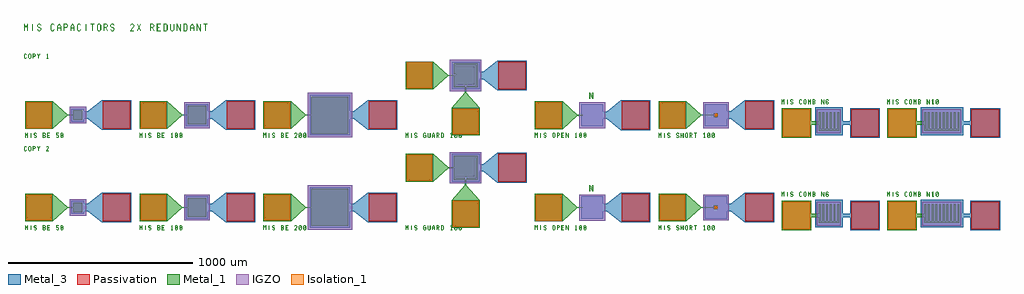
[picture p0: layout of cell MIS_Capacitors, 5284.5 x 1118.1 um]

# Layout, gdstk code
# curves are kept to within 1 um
import gdstk
lib = gdstk.Library(unit=1e-6, precision=1e-09)
def R(c, l, rs):  # rectangles x0, y0, x1, y1
    for r in rs: c.add(gdstk.rectangle(r[:2], r[2:], *l))
def P(c, l, *ps):  # polygons
    for p in ps: c.add(gdstk.Polygon(p, *l))
Metal_1 = (1, 0)
Isolation_1 = (2, 0)
IGZO = (4, 0)
Metal_3 = (5, 0)
Passivation = (6, 0)

miscap_comb_n6_1 = lib.new_cell('MIScap_comb_N6$1')
R(miscap_comb_n6_1, Metal_1, [(28.5,183,31.5,207)])
P(miscap_comb_n6_1, Metal_1, [(51.378,181.5),(46.939,185.939),(49.061,188.061),(52.622,184.5),(55.378,184.5),(58.5,187.622),(58.5,190.378),(55.378,193.5),(51.378,193.5),(46.5,198.378),(46.5,203.622),(51.378,208.5),(56.622,208.5),(61.061,204.061),(58.939,201.939),(55.378,205.5),(52.622,205.5),(49.5,202.378),(49.5,199.622),(52.622,196.5),(56.622,196.5),(61.5,191.622),(61.5,186.378),(56.622,181.5)],
  [(168,181.5),(168,183),(166.5,183),(166.5,193.5),(169.5,193.5),(169.5,184.5),(175.378,184.5),(178.5,187.622),(178.5,190.378),(175.378,193.5),(166.5,193.5),(166.5,205.5),(169.5,205.5),(169.5,196.5),(175.378,196.5),(178.5,199.622),(178.5,202.378),(175.378,205.5),(166.5,205.5),(166.5,208.5),(176.622,208.5),(181.5,203.622),(181.5,198.378),(178.122,195),(181.5,191.622),(181.5,186.378),(176.622,181.5)],
  [(243.378,181.5),(238.5,186.378),(238.5,193.5),(244.622,193.5),(241.5,190.378),(241.5,187.622),(244.622,184.5),(247.378,184.5),(250.5,187.622),(250.5,190.378),(247.378,193.5),(238.5,193.5),(238.5,203.622),(243.378,208.5),(248.622,208.5),(253.061,204.061),(250.939,201.939),(247.378,205.5),(244.622,205.5),(241.5,202.378),(241.5,196.036),(242.5,195.622),(243.378,196.5),(248.622,196.5),(253.5,191.622),(253.5,186.378),(248.622,181.5)],
  [(227.328,180.987),(218.947,197.753),(217.5,197.411),(217.5,183),(214.5,183),(214.5,208.501),(216.672,209.013),(225.053,192.247),(226.5,192.589),(226.5,207),(229.5,207),(229.5,181.499)],
  [(0,0),(0,160),(160,160),(160,90),(200,90),(200,140),(210,140),(210,50),(220,50),(220,140),(230,140),(230,50),(240,50),(240,140),(250,140),(250,50),(260,50),(260,140),(270,140),(270,50),(280,50),(280,140),(290,140),(290,50),(300,50),(300,140),(310,140),(310,40),(200,40),(200,70),(160,70),(160,0)],
  [(123.378,181.5),(118.939,185.939),(118.5,187),(118.5,203.622),(120.378,205.5),(124.622,205.5),(121.5,202.378),(121.5,187.622),(124.622,184.5),(127.378,184.5),(130.5,187.622),(130.5,202.378),(127.378,205.5),(120.378,205.5),(123.378,208.5),(128.622,208.5),(133.5,203.622),(133.5,186.378),(128.622,181.5)],
  [(99.378,181.5),(94.5,186.378),(94.5,203.622),(99.378,208.5),(104.622,208.5),(109.061,204.061),(106.939,201.939),(103.378,205.5),(100.622,205.5),(97.5,202.378),(97.5,187.622),(100.622,184.5),(103.378,184.5),(106.939,188.061),(109.061,185.939),(104.622,181.5)],
  [(-1.5,183),(-1.5,208.5),(0.514,209.058),(5.657,200.486),(6.343,200.486),(11.486,209.058),(13.5,208.5),(13.5,183),(10.5,183),(10.5,198.975),(9.157,199.347),(6.514,194.942),(5.486,194.942),(2.843,199.347),(1.5,198.975),(1.5,183)],
  [(142.5,183),(142.5,208.5),(144.514,209.058),(149.657,200.486),(150.343,200.486),(155.486,209.058),(157.5,208.5),(157.5,183),(154.5,183),(154.5,198.975),(153.157,199.347),(150.514,194.942),(149.486,194.942),(146.843,199.347),(145.5,198.975),(145.5,183)])
R(miscap_comb_n6_1, Isolation_1, [(5,5,155,155)])
R(miscap_comb_n6_1, IGZO, [(190,25,320,155)])
P(miscap_comb_n6_1, Metal_3, [(370,0),(370,70),(330,70),(330,15),(180,15),(180,165),(330,165),(330,90),(370,90),(370,160),(530,160),(530,0)])
R(miscap_comb_n6_1, Passivation, [(5,5,155,155), (375,5,525,155)])

miscap_open_100 = lib.new_cell('MIScap_open_100')
R(miscap_open_100, Metal_1, [(-7360.5,1579.25,-7357.5,1603.25)])
P(miscap_open_100, Metal_1, [(-7209.672,1577.237),(-7218.053,1594.003),(-7219.5,1593.661),(-7219.5,1579.25),(-7222.5,1579.25),(-7222.5,1604.751),(-7220.328,1605.263),(-7211.947,1588.497),(-7210.5,1588.839),(-7210.5,1603.25),(-7207.5,1603.25),(-7207.5,1577.749)],
  [(-7171,1577.75),(-7171,1580.75),(-7168.5,1580.75),(-7168.5,1598.214),(-7169.5,1598.628),(-7169.939,1598.189),(-7172.061,1600.311),(-7167,1605.372),(-7165.5,1604.75),(-7165.5,1580.75),(-7163,1580.75),(-7163,1577.75)],
  [(-7246.5,1577.75),(-7246.5,1604.75),(-7233,1604.75),(-7233,1601.75),(-7243.5,1601.75),(-7243.5,1592.75),(-7237,1592.75),(-7237,1589.75),(-7243.5,1589.75),(-7243.5,1580.75),(-7233,1580.75),(-7233,1577.75)],
  [(-7145.622,1577.75),(-7150.061,1582.189),(-7150.5,1583.25),(-7150.5,1599.872),(-7148.622,1601.75),(-7144.378,1601.75),(-7147.5,1598.628),(-7147.5,1589.75),(-7146.3,1589.35),(-7143.45,1593.15),(-7139.7,1593.15),(-7147.019,1583.391),(-7144.378,1580.75),(-7141.622,1580.75),(-7138.5,1583.872),(-7138.5,1592.75),(-7143.45,1593.15),(-7138.981,1599.109),(-7141.622,1601.75),(-7148.622,1601.75),(-7145.622,1604.75),(-7140.378,1604.75),(-7135.5,1599.872),(-7135.5,1582.628),(-7140.378,1577.75)],
  [(-7121.622,1577.75),(-7126.061,1582.189),(-7126.5,1583.25),(-7126.5,1599.872),(-7124.622,1601.75),(-7120.378,1601.75),(-7123.5,1598.628),(-7123.5,1589.75),(-7122.3,1589.35),(-7119.45,1593.15),(-7115.7,1593.15),(-7123.019,1583.391),(-7120.378,1580.75),(-7117.622,1580.75),(-7114.5,1583.872),(-7114.5,1592.75),(-7119.45,1593.15),(-7114.981,1599.109),(-7117.622,1601.75),(-7124.622,1601.75),(-7121.622,1604.75),(-7116.378,1604.75),(-7111.5,1599.872),(-7111.5,1582.628),(-7116.378,1577.75)],
  [(-7270.5,1579.25),(-7270.5,1601.75),(-7267.5,1601.75),(-7267.5,1592.75),(-7261.622,1592.75),(-7258.5,1595.872),(-7258.5,1598.628),(-7261.622,1601.75),(-7270.5,1601.75),(-7270.5,1604.75),(-7260.378,1604.75),(-7255.5,1599.872),(-7255.5,1594.628),(-7260.378,1589.75),(-7267.5,1589.75),(-7267.5,1579.25)],
  [(-7390.5,1579.25),(-7390.5,1604.75),(-7388.486,1605.308),(-7383.343,1596.736),(-7382.657,1596.736),(-7377.514,1605.308),(-7375.5,1604.75),(-7375.5,1579.25),(-7378.5,1579.25),(-7378.5,1595.225),(-7379.843,1595.597),(-7382.486,1591.192),(-7383.514,1591.192),(-7386.157,1595.597),(-7387.5,1595.225),(-7387.5,1579.25)],
  [(-7337.622,1577.75),(-7342.061,1582.189),(-7339.939,1584.311),(-7336.378,1580.75),(-7333.622,1580.75),(-7330.5,1583.872),(-7330.5,1586.628),(-7333.622,1589.75),(-7337.622,1589.75),(-7342.5,1594.628),(-7342.5,1599.872),(-7337.622,1604.75),(-7332.378,1604.75),(-7327.939,1600.311),(-7330.061,1598.189),(-7333.622,1601.75),(-7336.378,1601.75),(-7339.5,1598.628),(-7339.5,1595.872),(-7336.378,1592.75),(-7332.378,1592.75),(-7327.5,1587.872),(-7327.5,1582.628),(-7332.378,1577.75)],
  [(-7289.622,1577.75),(-7294.061,1582.189),(-7294.5,1583.25),(-7294.5,1599.872),(-7292.622,1601.75),(-7288.378,1601.75),(-7291.5,1598.628),(-7291.5,1583.872),(-7288.378,1580.75),(-7285.622,1580.75),(-7282.5,1583.872),(-7282.5,1598.628),(-7285.622,1601.75),(-7292.622,1601.75),(-7289.622,1604.75),(-7284.378,1604.75),(-7279.5,1599.872),(-7279.5,1582.628),(-7284.378,1577.75)],
  [(-7095.25,1788.25),(-7095.25,1821.25),(-7089.25,1821.25),(-7089.25,1815.25),(-7086.25,1815.25),(-7086.25,1809.25),(-7083.25,1809.25),(-7083.25,1806.25),(-7080.25,1806.25),(-7080.25,1821.25),(-7074.25,1821.25),(-7074.25,1788.25),(-7080.25,1788.25),(-7080.25,1794.25),(-7083.25,1794.25),(-7083.25,1800.25),(-7086.25,1800.25),(-7086.25,1803.25),(-7089.25,1803.25),(-7089.25,1788.25)],
  [(-7390,1625),(-7390,1775),(-7240,1775),(-7160,1701.5),(-7130,1701.5),(-7130,1698.5),(-7160,1698.5),(-7240,1625)])
R(miscap_open_100, Isolation_1, [(-7385,1630,-7245,1770)])
R(miscap_open_100, IGZO, [(-7150,1630,-7010,1770)])
R(miscap_open_100, Metal_3, [(-7390,1625,-7240,1775)])
P(miscap_open_100, Metal_3, [(-6925,1620),(-7000,1680),(-7020,1680),(-7020,1640),(-7140,1640),(-7140,1760),(-7020,1760),(-7020,1720),(-7000,1720),(-6925,1780),(-6765,1780),(-6765,1620)])
R(miscap_open_100, Passivation, [(-6920,1625,-6770,1775), (-7385,1630,-7245,1770)])

miscap_bedef_200 = lib.new_cell('MIScap_BEdef_200')
R(miscap_bedef_200, Metal_1, [(-6950.5,1578,-6947.5,1602)])
P(miscap_bedef_200, Metal_1, [(-6860.5,1576.5),(-6860.5,1603.5),(-6847,1603.5),(-6847,1600.5),(-6857.5,1600.5),(-6857.5,1591.5),(-6851,1591.5),(-6851,1588.5),(-6857.5,1588.5),(-6857.5,1579.5),(-6847,1579.5),(-6847,1576.5)],
  [(-6783.622,1576.5),(-6788.061,1580.939),(-6788.5,1582),(-6788.5,1598.622),(-6786.622,1600.5),(-6782.378,1600.5),(-6785.5,1597.378),(-6785.5,1588.5),(-6784.3,1588.1),(-6781.45,1591.9),(-6777.7,1591.9),(-6785.019,1582.141),(-6782.378,1579.5),(-6779.622,1579.5),(-6776.5,1582.622),(-6776.5,1591.5),(-6781.45,1591.9),(-6776.981,1597.859),(-6779.622,1600.5),(-6786.622,1600.5),(-6783.622,1603.5),(-6778.378,1603.5),(-6773.5,1598.622),(-6773.5,1581.378),(-6778.378,1576.5)],
  [(-6759.622,1576.5),(-6764.061,1580.939),(-6764.5,1582),(-6764.5,1598.622),(-6762.622,1600.5),(-6758.378,1600.5),(-6761.5,1597.378),(-6761.5,1588.5),(-6760.3,1588.1),(-6757.45,1591.9),(-6753.7,1591.9),(-6761.019,1582.141),(-6758.378,1579.5),(-6755.622,1579.5),(-6752.5,1582.622),(-6752.5,1591.5),(-6757.45,1591.9),(-6752.981,1597.859),(-6755.622,1600.5),(-6762.622,1600.5),(-6759.622,1603.5),(-6754.378,1603.5),(-6749.5,1598.622),(-6749.5,1581.378),(-6754.378,1576.5)],
  [(-6812.501,1576.5),(-6813.1,1577.7),(-6800.5,1594.5),(-6800.5,1597.378),(-6803.622,1600.5),(-6806.378,1600.5),(-6809.939,1596.939),(-6812.061,1599.061),(-6807.622,1603.5),(-6802.378,1603.5),(-6797.5,1598.622),(-6797.5,1593.5),(-6807.4,1580.3),(-6807,1579.5),(-6799,1579.5),(-6799,1576.5)],
  [(-6927.622,1576.5),(-6932.061,1580.939),(-6929.939,1583.061),(-6926.378,1579.5),(-6923.622,1579.5),(-6920.5,1582.622),(-6920.5,1585.378),(-6923.622,1588.5),(-6927.622,1588.5),(-6932.5,1593.378),(-6932.5,1598.622),(-6927.622,1603.5),(-6922.378,1603.5),(-6917.939,1599.061),(-6920.061,1596.939),(-6923.622,1600.5),(-6926.378,1600.5),(-6929.5,1597.378),(-6929.5,1594.622),(-6926.378,1591.5),(-6922.378,1591.5),(-6917.5,1586.622),(-6917.5,1581.378),(-6922.378,1576.5)],
  [(-6883,1576.5),(-6883,1578),(-6884.5,1578),(-6884.5,1588.5),(-6881.5,1588.5),(-6881.5,1579.5),(-6875.622,1579.5),(-6872.5,1582.622),(-6872.5,1585.378),(-6875.622,1588.5),(-6884.5,1588.5),(-6884.5,1600.5),(-6881.5,1600.5),(-6881.5,1591.5),(-6875.622,1591.5),(-6872.5,1594.622),(-6872.5,1597.378),(-6875.622,1600.5),(-6884.5,1600.5),(-6884.5,1603.5),(-6874.378,1603.5),(-6869.5,1598.622),(-6869.5,1593.378),(-6872.878,1590),(-6869.5,1586.622),(-6869.5,1581.378),(-6874.378,1576.5)],
  [(-6980.5,1578),(-6980.5,1603.5),(-6978.486,1604.058),(-6973.343,1595.486),(-6972.657,1595.486),(-6967.514,1604.058),(-6965.5,1603.5),(-6965.5,1578),(-6968.5,1578),(-6968.5,1593.975),(-6969.843,1594.347),(-6972.486,1589.942),(-6973.514,1589.942),(-6976.157,1594.347),(-6977.5,1593.975),(-6977.5,1578)],
  [(-6720,1600),(-6720,1698.5),(-6750,1698.5),(-6830,1625),(-6980,1625),(-6980,1775),(-6830,1775),(-6750,1701.5),(-6720,1701.5),(-6720,1800),(-6520,1800),(-6520,1600)])
R(miscap_bedef_200, Isolation_1, [(-6975,1630,-6835,1770)])
R(miscap_bedef_200, IGZO, [(-6740,1580,-6500,1820)])
R(miscap_bedef_200, Metal_3, [(-6980,1625,-6830,1775)])
P(miscap_bedef_200, Metal_3, [(-6730,1590),(-6730,1810),(-6510,1810),(-6510,1720),(-6490,1720),(-6415,1780),(-6255,1780),(-6255,1620),(-6415,1620),(-6490,1680),(-6510,1680),(-6510,1590)])
R(miscap_bedef_200, Passivation, [(-6410,1625,-6260,1775), (-6975,1630,-6835,1770)])

miscap_guarded_100 = lib.new_cell('MIScap_guarded_100')
R(miscap_guarded_100, Metal_1, [(-7220.5,1363,-7217.5,1387)])
P(miscap_guarded_100, Metal_1, [(-7250.5,1363),(-7250.5,1388.5),(-7248.486,1389.058),(-7243.343,1380.486),(-7242.657,1380.486),(-7237.514,1389.058),(-7235.5,1388.5),(-7235.5,1363),(-7238.5,1363),(-7238.5,1378.975),(-7239.843,1379.347),(-7242.486,1374.942),(-7243.514,1374.942),(-7246.157,1379.347),(-7247.5,1378.975),(-7247.5,1363)],
  [(-7106.5,1363),(-7106.5,1379.5),(-7102.95,1384.233),(-7099.2,1384.233),(-7103.5,1378.5),(-7103.5,1374.5),(-7094.5,1374.5),(-7094.5,1378.5),(-7098.8,1384.233),(-7102.95,1384.233),(-7099.3,1389.1),(-7098.7,1389.1),(-7091.5,1379.5),(-7091.5,1363),(-7094.5,1363),(-7094.5,1371.5),(-7103.5,1371.5),(-7103.5,1363)],
  [(-6981.622,1361.5),(-6986.061,1365.939),(-6986.5,1367),(-6986.5,1383.622),(-6984.622,1385.5),(-6980.378,1385.5),(-6983.5,1382.378),(-6983.5,1373.5),(-6982.3,1373.1),(-6979.45,1376.9),(-6975.7,1376.9),(-6983.019,1367.141),(-6980.378,1364.5),(-6977.622,1364.5),(-6974.5,1367.622),(-6974.5,1376.5),(-6979.45,1376.9),(-6974.981,1382.859),(-6977.622,1385.5),(-6984.622,1385.5),(-6981.622,1388.5),(-6976.378,1388.5),(-6971.5,1383.622),(-6971.5,1366.378),(-6976.378,1361.5)],
  [(-6957.622,1361.5),(-6962.061,1365.939),(-6962.5,1367),(-6962.5,1383.622),(-6960.622,1385.5),(-6956.378,1385.5),(-6959.5,1382.378),(-6959.5,1373.5),(-6958.3,1373.1),(-6955.45,1376.9),(-6951.7,1376.9),(-6959.019,1367.141),(-6956.378,1364.5),(-6953.622,1364.5),(-6950.5,1367.622),(-6950.5,1376.5),(-6955.45,1376.9),(-6950.981,1382.859),(-6953.622,1385.5),(-6960.622,1385.5),(-6957.622,1388.5),(-6952.378,1388.5),(-6947.5,1383.622),(-6947.5,1366.378),(-6952.378,1361.5)],
  [(-7007,1361.5),(-7007,1364.5),(-7004.5,1364.5),(-7004.5,1381.964),(-7005.5,1382.378),(-7005.939,1381.939),(-7008.061,1384.061),(-7003,1389.122),(-7001.5,1388.5),(-7001.5,1364.5),(-6999,1364.5),(-6999,1361.5)],
  [(-7149.622,1361.5),(-7154.5,1366.378),(-7154.5,1383.622),(-7149.622,1388.5),(-7144.378,1388.5),(-7139.939,1384.061),(-7142.061,1381.939),(-7145.622,1385.5),(-7148.378,1385.5),(-7151.5,1382.378),(-7151.5,1367.622),(-7148.378,1364.5),(-7145.622,1364.5),(-7142.5,1367.622),(-7142.5,1373.5),(-7147,1373.5),(-7147,1376.5),(-7139.5,1376.5),(-7139.5,1366.378),(-7144.378,1361.5)],
  [(-6919.5,1635),(-6919.5,1645),(-6870,1645),(-6870,1755),(-6980,1755),(-6980,1705.5),(-6990,1705.5),(-6990,1765),(-6860,1765),(-6860,1635)],
  [(-6990,1635),(-6990,1694.5),(-6980,1694.5),(-6980,1645),(-6930.5,1645),(-6930.5,1635)],
  [(-7057,1361.5),(-7057,1363),(-7058.5,1363),(-7058.5,1385.5),(-7055.5,1385.5),(-7055.5,1364.5),(-7049.622,1364.5),(-7046.5,1367.622),(-7046.5,1382.378),(-7049.622,1385.5),(-7058.5,1385.5),(-7058.5,1388.5),(-7048.378,1388.5),(-7043.5,1383.622),(-7043.5,1366.378),(-7048.378,1361.5)],
  [(-7125.622,1361.5),(-7130.5,1366.378),(-7130.5,1387),(-7127.5,1387),(-7127.5,1367.622),(-7124.378,1364.5),(-7121.622,1364.5),(-7118.5,1367.622),(-7118.5,1387),(-7115.5,1387),(-7115.5,1366.378),(-7120.378,1361.5)],
  [(-7070.342,1362.328),(-7075.928,1373.5),(-7079.5,1373.5),(-7079.5,1363),(-7082.5,1363),(-7082.5,1385.5),(-7079.5,1385.5),(-7079.5,1376.5),(-7073.622,1376.5),(-7070.5,1379.622),(-7070.5,1382.378),(-7073.622,1385.5),(-7082.5,1385.5),(-7082.5,1388.5),(-7072.378,1388.5),(-7067.5,1383.622),(-7067.5,1378.378),(-7072.509,1373.369),(-7067.657,1363.671)],
  [(-7197.622,1361.5),(-7202.061,1365.939),(-7199.939,1368.061),(-7196.378,1364.5),(-7193.622,1364.5),(-7190.5,1367.622),(-7190.5,1370.378),(-7193.622,1373.5),(-7197.622,1373.5),(-7202.5,1378.378),(-7202.5,1383.622),(-7197.622,1388.5),(-7192.378,1388.5),(-7187.939,1384.061),(-7190.061,1381.939),(-7193.622,1385.5),(-7196.378,1385.5),(-7199.5,1382.378),(-7199.5,1379.622),(-7196.378,1376.5),(-7192.378,1376.5),(-7187.5,1371.622),(-7187.5,1366.378),(-7192.378,1361.5)],
  [(-7000,1375),(-7000,1525),(-6929,1605),(-6929,1635),(-6921,1635),(-6921,1605),(-6850,1525),(-6850,1375)],
  [(-7250,1625),(-7250,1775),(-7100,1775),(-7020,1701.5),(-6975,1701.5),(-6975,1750),(-6875,1750),(-6875,1650),(-6975,1650),(-6975,1698.5),(-7020,1698.5),(-7100,1625)])
R(miscap_guarded_100, Isolation_1, [(-6995,1380,-6855,1520), (-7245,1630,-7105,1770)])
R(miscap_guarded_100, IGZO, [(-7010,1615,-6840,1785)])
R(miscap_guarded_100, Metal_3, [(-7000,1375,-6850,1525), (-7250,1625,-7100,1775)])
P(miscap_guarded_100, Metal_3, [(-6755,1620),(-6830,1680),(-6850,1680),(-6850,1625),(-7000,1625),(-7000,1775),(-6850,1775),(-6850,1720),(-6830,1720),(-6755,1780),(-6595,1780),(-6595,1620)])
R(miscap_guarded_100, Passivation, [(-6995,1380,-6855,1520), (-6750,1625,-6600,1775), (-7245,1630,-7105,1770)])

miscap_short_100 = lib.new_cell('MIScap_short_100')
R(miscap_short_100, Metal_1, [(-7535.5,1578,-7532.5,1602)])
P(miscap_short_100, Metal_1, [(-7322,1576.5),(-7322,1579.5),(-7319.5,1579.5),(-7319.5,1596.964),(-7320.5,1597.378),(-7320.939,1596.939),(-7323.061,1599.061),(-7318,1604.122),(-7316.5,1603.5),(-7316.5,1579.5),(-7314,1579.5),(-7314,1576.5)],
  [(-7385.342,1577.328),(-7390.928,1588.5),(-7394.5,1588.5),(-7394.5,1578),(-7397.5,1578),(-7397.5,1600.5),(-7394.5,1600.5),(-7394.5,1591.5),(-7388.622,1591.5),(-7385.5,1594.622),(-7385.5,1597.378),(-7388.622,1600.5),(-7397.5,1600.5),(-7397.5,1603.5),(-7387.378,1603.5),(-7382.5,1598.622),(-7382.5,1593.378),(-7387.509,1588.369),(-7382.657,1578.671)],
  [(-7296.622,1576.5),(-7301.061,1580.939),(-7301.5,1582),(-7301.5,1598.622),(-7299.622,1600.5),(-7295.378,1600.5),(-7298.5,1597.378),(-7298.5,1588.5),(-7297.3,1588.1),(-7294.45,1591.9),(-7290.7,1591.9),(-7298.019,1582.141),(-7295.378,1579.5),(-7292.622,1579.5),(-7289.5,1582.622),(-7289.5,1591.5),(-7294.45,1591.9),(-7289.981,1597.859),(-7292.622,1600.5),(-7299.622,1600.5),(-7296.622,1603.5),(-7291.378,1603.5),(-7286.5,1598.622),(-7286.5,1581.378),(-7291.378,1576.5)],
  [(-7272.622,1576.5),(-7277.061,1580.939),(-7277.5,1582),(-7277.5,1598.622),(-7275.622,1600.5),(-7271.378,1600.5),(-7274.5,1597.378),(-7274.5,1588.5),(-7273.3,1588.1),(-7270.45,1591.9),(-7266.7,1591.9),(-7274.019,1582.141),(-7271.378,1579.5),(-7268.622,1579.5),(-7265.5,1582.622),(-7265.5,1591.5),(-7270.45,1591.9),(-7265.981,1597.859),(-7268.622,1600.5),(-7275.622,1600.5),(-7272.622,1603.5),(-7267.378,1603.5),(-7262.5,1598.622),(-7262.5,1581.378),(-7267.378,1576.5)],
  [(-7445.5,1578),(-7445.5,1602),(-7442.5,1602),(-7442.5,1591.5),(-7433.5,1591.5),(-7433.5,1602),(-7430.5,1602),(-7430.5,1578),(-7433.5,1578),(-7433.5,1588.5),(-7442.5,1588.5),(-7442.5,1578)],
  [(-7367.5,1578),(-7367.5,1600.5),(-7372,1600.5),(-7372,1603.5),(-7360,1603.5),(-7360,1600.5),(-7364.5,1600.5),(-7364.5,1578)],
  [(-7416.622,1576.5),(-7421.061,1580.939),(-7421.5,1582),(-7421.5,1598.622),(-7419.622,1600.5),(-7415.378,1600.5),(-7418.5,1597.378),(-7418.5,1582.622),(-7415.378,1579.5),(-7412.622,1579.5),(-7409.5,1582.622),(-7409.5,1597.378),(-7412.622,1600.5),(-7419.622,1600.5),(-7416.622,1603.5),(-7411.378,1603.5),(-7406.5,1598.622),(-7406.5,1581.378),(-7411.378,1576.5)],
  [(-7565.5,1578),(-7565.5,1603.5),(-7563.486,1604.058),(-7558.343,1595.486),(-7557.657,1595.486),(-7552.514,1604.058),(-7550.5,1603.5),(-7550.5,1578),(-7553.5,1578),(-7553.5,1593.975),(-7554.843,1594.347),(-7557.486,1589.942),(-7558.514,1589.942),(-7561.157,1594.347),(-7562.5,1593.975),(-7562.5,1578)],
  [(-7512.622,1576.5),(-7517.061,1580.939),(-7514.939,1583.061),(-7511.378,1579.5),(-7508.622,1579.5),(-7505.5,1582.622),(-7505.5,1585.378),(-7508.622,1588.5),(-7512.622,1588.5),(-7517.5,1593.378),(-7517.5,1598.622),(-7512.622,1603.5),(-7507.378,1603.5),(-7502.939,1599.061),(-7505.061,1596.939),(-7508.622,1600.5),(-7511.378,1600.5),(-7514.5,1597.378),(-7514.5,1594.622),(-7511.378,1591.5),(-7507.378,1591.5),(-7502.5,1586.622),(-7502.5,1581.378),(-7507.378,1576.5)],
  [(-7464.622,1576.5),(-7469.061,1580.939),(-7466.939,1583.061),(-7463.378,1579.5),(-7460.622,1579.5),(-7457.5,1582.622),(-7457.5,1585.378),(-7460.622,1588.5),(-7464.622,1588.5),(-7469.5,1593.378),(-7469.5,1598.622),(-7464.622,1603.5),(-7459.378,1603.5),(-7454.939,1599.061),(-7457.061,1596.939),(-7460.622,1600.5),(-7463.378,1600.5),(-7466.5,1597.378),(-7466.5,1594.622),(-7463.378,1591.5),(-7459.378,1591.5),(-7454.5,1586.622),(-7454.5,1581.378),(-7459.378,1576.5)],
  [(-7565,1625),(-7565,1775),(-7415,1775),(-7335,1701.5),(-7266,1701.5),(-7266,1711),(-7244,1711),(-7244,1689),(-7266,1689),(-7266,1698.5),(-7335,1698.5),(-7415,1625)])
R(miscap_short_100, Isolation_1, [(-7560,1630,-7420,1770), (-7262,1693,-7248,1707)])
R(miscap_short_100, IGZO, [(-7325,1630,-7185,1770)])
R(miscap_short_100, Metal_3, [(-7565,1625,-7415,1775)])
P(miscap_short_100, Metal_3, [(-7100,1620),(-7175,1680),(-7195,1680),(-7195,1640),(-7315,1640),(-7315,1760),(-7195,1760),(-7195,1720),(-7175,1720),(-7100,1780),(-6940,1780),(-6940,1620)])
R(miscap_short_100, Passivation, [(-7095,1625,-6945,1775), (-7560,1630,-7420,1770), (-7262,1693,-7248,1707)])

miscap_bedef_100 = lib.new_cell('MIScap_BEdef_100')
R(miscap_bedef_100, Metal_1, [(-6780.5,1578,-6777.5,1602)])
P(miscap_bedef_100, Metal_1, [(-6639,1576.5),(-6639,1579.5),(-6636.5,1579.5),(-6636.5,1596.964),(-6637.5,1597.378),(-6637.939,1596.939),(-6640.061,1599.061),(-6635,1604.122),(-6633.5,1603.5),(-6633.5,1579.5),(-6631,1579.5),(-6631,1576.5)],
  [(-6690.5,1576.5),(-6690.5,1603.5),(-6677,1603.5),(-6677,1600.5),(-6687.5,1600.5),(-6687.5,1591.5),(-6681,1591.5),(-6681,1588.5),(-6687.5,1588.5),(-6687.5,1579.5),(-6677,1579.5),(-6677,1576.5)],
  [(-6613.622,1576.5),(-6618.061,1580.939),(-6618.5,1582),(-6618.5,1598.622),(-6616.622,1600.5),(-6612.378,1600.5),(-6615.5,1597.378),(-6615.5,1588.5),(-6614.3,1588.1),(-6611.45,1591.9),(-6607.7,1591.9),(-6615.019,1582.141),(-6612.378,1579.5),(-6609.622,1579.5),(-6606.5,1582.622),(-6606.5,1591.5),(-6611.45,1591.9),(-6606.981,1597.859),(-6609.622,1600.5),(-6616.622,1600.5),(-6613.622,1603.5),(-6608.378,1603.5),(-6603.5,1598.622),(-6603.5,1581.378),(-6608.378,1576.5)],
  [(-6589.622,1576.5),(-6594.061,1580.939),(-6594.5,1582),(-6594.5,1598.622),(-6592.622,1600.5),(-6588.378,1600.5),(-6591.5,1597.378),(-6591.5,1588.5),(-6590.3,1588.1),(-6587.45,1591.9),(-6583.7,1591.9),(-6591.019,1582.141),(-6588.378,1579.5),(-6585.622,1579.5),(-6582.5,1582.622),(-6582.5,1591.5),(-6587.45,1591.9),(-6582.981,1597.859),(-6585.622,1600.5),(-6592.622,1600.5),(-6589.622,1603.5),(-6584.378,1603.5),(-6579.5,1598.622),(-6579.5,1581.378),(-6584.378,1576.5)],
  [(-6757.622,1576.5),(-6762.061,1580.939),(-6759.939,1583.061),(-6756.378,1579.5),(-6753.622,1579.5),(-6750.5,1582.622),(-6750.5,1585.378),(-6753.622,1588.5),(-6757.622,1588.5),(-6762.5,1593.378),(-6762.5,1598.622),(-6757.622,1603.5),(-6752.378,1603.5),(-6747.939,1599.061),(-6750.061,1596.939),(-6753.622,1600.5),(-6756.378,1600.5),(-6759.5,1597.378),(-6759.5,1594.622),(-6756.378,1591.5),(-6752.378,1591.5),(-6747.5,1586.622),(-6747.5,1581.378),(-6752.378,1576.5)],
  [(-6713,1576.5),(-6713,1578),(-6714.5,1578),(-6714.5,1588.5),(-6711.5,1588.5),(-6711.5,1579.5),(-6705.622,1579.5),(-6702.5,1582.622),(-6702.5,1585.378),(-6705.622,1588.5),(-6714.5,1588.5),(-6714.5,1600.5),(-6711.5,1600.5),(-6711.5,1591.5),(-6705.622,1591.5),(-6702.5,1594.622),(-6702.5,1597.378),(-6705.622,1600.5),(-6714.5,1600.5),(-6714.5,1603.5),(-6704.378,1603.5),(-6699.5,1598.622),(-6699.5,1593.378),(-6702.878,1590),(-6699.5,1586.622),(-6699.5,1581.378),(-6704.378,1576.5)],
  [(-6810.5,1578),(-6810.5,1603.5),(-6808.486,1604.058),(-6803.343,1595.486),(-6802.657,1595.486),(-6797.514,1604.058),(-6795.5,1603.5),(-6795.5,1578),(-6798.5,1578),(-6798.5,1593.975),(-6799.843,1594.347),(-6802.486,1589.942),(-6803.514,1589.942),(-6806.157,1594.347),(-6807.5,1593.975),(-6807.5,1578)],
  [(-6810,1625),(-6810,1775),(-6660,1775),(-6580,1701.5),(-6550,1701.5),(-6550,1750),(-6450,1750),(-6450,1650),(-6550,1650),(-6550,1698.5),(-6580,1698.5),(-6660,1625)])
R(miscap_bedef_100, Isolation_1, [(-6805,1630,-6665,1770)])
R(miscap_bedef_100, IGZO, [(-6570,1630,-6430,1770)])
R(miscap_bedef_100, Metal_3, [(-6810,1625,-6660,1775)])
P(miscap_bedef_100, Metal_3, [(-6345,1620),(-6420,1680),(-6440,1680),(-6440,1640),(-6560,1640),(-6560,1760),(-6440,1760),(-6440,1720),(-6420,1720),(-6345,1780),(-6185,1780),(-6185,1620)])
R(miscap_bedef_100, Passivation, [(-6340,1625,-6190,1775), (-6805,1630,-6665,1770)])

miscap_comb_n10_1 = lib.new_cell('MIScap_comb_N10$1')
R(miscap_comb_n10_1, Metal_1, [(28.5,183,31.5,207)])
P(miscap_comb_n10_1, Metal_1, [(227.328,180.987),(218.947,197.753),(217.5,197.411),(217.5,183),(214.5,183),(214.5,208.501),(216.672,209.013),(225.053,192.247),(226.5,192.589),(226.5,207),(229.5,207),(229.5,181.499)],
  [(51.378,181.5),(46.939,185.939),(49.061,188.061),(52.622,184.5),(55.378,184.5),(58.5,187.622),(58.5,190.378),(55.378,193.5),(51.378,193.5),(46.5,198.378),(46.5,203.622),(51.378,208.5),(56.622,208.5),(61.061,204.061),(58.939,201.939),(55.378,205.5),(52.622,205.5),(49.5,202.378),(49.5,199.622),(52.622,196.5),(56.622,196.5),(61.5,191.622),(61.5,186.378),(56.622,181.5)],
  [(168,181.5),(168,183),(166.5,183),(166.5,193.5),(169.5,193.5),(169.5,184.5),(175.378,184.5),(178.5,187.622),(178.5,190.378),(175.378,193.5),(166.5,193.5),(166.5,205.5),(169.5,205.5),(169.5,196.5),(175.378,196.5),(178.5,199.622),(178.5,202.378),(175.378,205.5),(166.5,205.5),(166.5,208.5),(176.622,208.5),(181.5,203.622),(181.5,198.378),(178.122,195),(181.5,191.622),(181.5,186.378),(176.622,181.5)],
  [(123.378,181.5),(118.939,185.939),(118.5,187),(118.5,203.622),(120.378,205.5),(124.622,205.5),(121.5,202.378),(121.5,187.622),(124.622,184.5),(127.378,184.5),(130.5,187.622),(130.5,202.378),(127.378,205.5),(120.378,205.5),(123.378,208.5),(128.622,208.5),(133.5,203.622),(133.5,186.378),(128.622,181.5)],
  [(242,181.5),(242,184.5),(244.5,184.5),(244.5,201.964),(243.5,202.378),(243.061,201.939),(240.939,204.061),(246,209.122),(247.5,208.5),(247.5,184.5),(250,184.5),(250,181.5)],
  [(267.378,181.5),(262.939,185.939),(262.5,187),(262.5,203.622),(264.378,205.5),(268.622,205.5),(265.5,202.378),(265.5,193.5),(266.7,193.1),(269.55,196.9),(273.3,196.9),(265.981,187.141),(268.622,184.5),(271.378,184.5),(274.5,187.622),(274.5,196.5),(269.55,196.9),(274.019,202.859),(271.378,205.5),(264.378,205.5),(267.378,208.5),(272.622,208.5),(277.5,203.622),(277.5,186.378),(272.622,181.5)],
  [(99.378,181.5),(94.5,186.378),(94.5,203.622),(99.378,208.5),(104.622,208.5),(109.061,204.061),(106.939,201.939),(103.378,205.5),(100.622,205.5),(97.5,202.378),(97.5,187.622),(100.622,184.5),(103.378,184.5),(106.939,188.061),(109.061,185.939),(104.622,181.5)],
  [(-1.5,183),(-1.5,208.5),(0.514,209.058),(5.657,200.486),(6.343,200.486),(11.486,209.058),(13.5,208.5),(13.5,183),(10.5,183),(10.5,198.975),(9.157,199.347),(6.514,194.942),(5.486,194.942),(2.843,199.347),(1.5,198.975),(1.5,183)],
  [(142.5,183),(142.5,208.5),(144.514,209.058),(149.657,200.486),(150.343,200.486),(155.486,209.058),(157.5,208.5),(157.5,183),(154.5,183),(154.5,198.975),(153.157,199.347),(150.514,194.942),(149.486,194.942),(146.843,199.347),(145.5,198.975),(145.5,183)],
  [(0,0),(0,160),(160,160),(160,90),(200,90),(200,140),(210,140),(210,50),(220,50),(220,140),(230,140),(230,50),(240,50),(240,140),(250,140),(250,50),(260,50),(260,140),(270,140),(270,50),(280,50),(280,140),(290,140),(290,50),(300,50),(300,140),(310,140),(310,50),(320,50),(320,140),(330,140),(330,50),(340,50),(340,140),(350,140),(350,50),(360,50),(360,140),(370,140),(370,50),(380,50),(380,140),(390,140),(390,40),(200,40),(200,70),(160,70),(160,0)])
R(miscap_comb_n10_1, Isolation_1, [(5,5,155,155)])
R(miscap_comb_n10_1, IGZO, [(190,25,400,155)])
P(miscap_comb_n10_1, Metal_3, [(450,0),(450,70),(410,70),(410,15),(180,15),(180,165),(410,165),(410,90),(450,90),(450,160),(610,160),(610,0)])
R(miscap_comb_n10_1, Passivation, [(5,5,155,155), (455,5,605,155)])

miscap_bedef_50 = lib.new_cell('MIScap_BEdef_50')
R(miscap_bedef_50, Metal_1, [(-6555.5,1578,-6552.5,1602)])
P(miscap_bedef_50, Metal_1, [(-6465.5,1576.5),(-6465.5,1603.5),(-6452,1603.5),(-6452,1600.5),(-6462.5,1600.5),(-6462.5,1591.5),(-6456,1591.5),(-6456,1588.5),(-6462.5,1588.5),(-6462.5,1579.5),(-6452,1579.5),(-6452,1576.5)],
  [(-6388.622,1576.5),(-6393.061,1580.939),(-6393.5,1582),(-6393.5,1598.622),(-6391.622,1600.5),(-6387.378,1600.5),(-6390.5,1597.378),(-6390.5,1588.5),(-6389.3,1588.1),(-6386.45,1591.9),(-6382.7,1591.9),(-6390.019,1582.141),(-6387.378,1579.5),(-6384.622,1579.5),(-6381.5,1582.622),(-6381.5,1591.5),(-6386.45,1591.9),(-6381.981,1597.859),(-6384.622,1600.5),(-6391.622,1600.5),(-6388.622,1603.5),(-6383.378,1603.5),(-6378.5,1598.622),(-6378.5,1581.378),(-6383.378,1576.5)],
  [(-6412.622,1576.5),(-6417.061,1580.939),(-6414.939,1583.061),(-6411.378,1579.5),(-6408.622,1579.5),(-6405.5,1582.622),(-6405.5,1587.378),(-6408.622,1590.5),(-6417.5,1590.5),(-6417.5,1603.5),(-6404,1603.5),(-6404,1600.5),(-6414.5,1600.5),(-6414.5,1593.5),(-6407.378,1593.5),(-6402.5,1588.622),(-6402.5,1581.378),(-6407.378,1576.5)],
  [(-6532.622,1576.5),(-6537.061,1580.939),(-6534.939,1583.061),(-6531.378,1579.5),(-6528.622,1579.5),(-6525.5,1582.622),(-6525.5,1585.378),(-6528.622,1588.5),(-6532.622,1588.5),(-6537.5,1593.378),(-6537.5,1598.622),(-6532.622,1603.5),(-6527.378,1603.5),(-6522.939,1599.061),(-6525.061,1596.939),(-6528.622,1600.5),(-6531.378,1600.5),(-6534.5,1597.378),(-6534.5,1594.622),(-6531.378,1591.5),(-6527.378,1591.5),(-6522.5,1586.622),(-6522.5,1581.378),(-6527.378,1576.5)],
  [(-6488,1576.5),(-6488,1578),(-6489.5,1578),(-6489.5,1588.5),(-6486.5,1588.5),(-6486.5,1579.5),(-6480.622,1579.5),(-6477.5,1582.622),(-6477.5,1585.378),(-6480.622,1588.5),(-6489.5,1588.5),(-6489.5,1600.5),(-6486.5,1600.5),(-6486.5,1591.5),(-6480.622,1591.5),(-6477.5,1594.622),(-6477.5,1597.378),(-6480.622,1600.5),(-6489.5,1600.5),(-6489.5,1603.5),(-6479.378,1603.5),(-6474.5,1598.622),(-6474.5,1593.378),(-6477.878,1590),(-6474.5,1586.622),(-6474.5,1581.378),(-6479.378,1576.5)],
  [(-6585.5,1578),(-6585.5,1603.5),(-6583.486,1604.058),(-6578.343,1595.486),(-6577.657,1595.486),(-6572.514,1604.058),(-6570.5,1603.5),(-6570.5,1578),(-6573.5,1578),(-6573.5,1593.975),(-6574.843,1594.347),(-6577.486,1589.942),(-6578.514,1589.942),(-6581.157,1594.347),(-6582.5,1593.975),(-6582.5,1578)],
  [(-6585,1625),(-6585,1775),(-6435,1775),(-6355,1701.5),(-6325,1701.5),(-6325,1725),(-6275,1725),(-6275,1675),(-6325,1675),(-6325,1698.5),(-6355,1698.5),(-6435,1625)])
R(miscap_bedef_50, Isolation_1, [(-6580,1630,-6440,1770)])
R(miscap_bedef_50, IGZO, [(-6345,1655,-6255,1745)])
R(miscap_bedef_50, Metal_3, [(-6585,1625,-6435,1775)])
P(miscap_bedef_50, Metal_3, [(-6170,1620),(-6245,1680),(-6265,1680),(-6265,1665),(-6335,1665),(-6335,1735),(-6265,1735),(-6265,1720),(-6245,1720),(-6170,1780),(-6010,1780),(-6010,1620)])
R(miscap_bedef_50, Passivation, [(-6165,1625,-6015,1775), (-6580,1630,-6440,1770)])

mis_capacitors = lib.new_cell('MIS_Capacitors')
R(mis_capacitors, Metal_1, [(43.5,580,46.5,616), (331.5,580,334.5,616)])
P(mis_capacitors, Metal_1, [(401.378,578.5),(394.939,584.939),(394.5,586),(394.5,610.622),(398.378,614.5),(402.622,614.5),(397.5,609.378),(397.5,586.622),(402.622,581.5),(407.378,581.5),(412.5,586.622),(412.5,609.378),(407.378,614.5),(398.378,614.5),(401.378,617.5),(408.622,617.5),(415.5,610.622),(415.5,585.378),(408.622,578.5)],
  [(27.378,-71.5),(22.939,-67.061),(22.5,-66),(22.5,-49.378),(24.378,-47.5),(28.622,-47.5),(25.5,-50.622),(25.5,-65.378),(28.622,-68.5),(31.378,-68.5),(34.5,-65.378),(34.5,-50.622),(31.378,-47.5),(24.378,-47.5),(27.378,-44.5),(32.622,-44.5),(37.5,-49.378),(37.5,-66.622),(32.622,-71.5)],
  [(27.378,428.5),(22.939,432.939),(22.5,434),(22.5,450.622),(24.378,452.5),(28.622,452.5),(25.5,449.378),(25.5,434.622),(28.622,431.5),(31.378,431.5),(34.5,434.622),(34.5,449.378),(31.378,452.5),(24.378,452.5),(27.378,455.5),(32.622,455.5),(37.5,450.622),(37.5,433.378),(32.622,428.5)],
  [(845.328,577.987),(830.947,606.753),(829.5,606.411),(829.5,580),(826.5,580),(826.5,617.501),(828.672,618.013),(843.053,589.247),(844.5,589.589),(844.5,616),(847.5,616),(847.5,578.499)],
  [(953.328,577.987),(938.947,606.753),(937.5,606.411),(937.5,580),(934.5,580),(934.5,617.501),(936.672,618.013),(951.053,589.247),(952.5,589.589),(952.5,616),(955.5,616),(955.5,578.499)],
  [(-1.5,580),(-1.5,617.5),(0.515,618.058),(8.657,604.486),(9.343,604.486),(17.485,618.058),(19.5,617.5),(19.5,580),(16.5,580),(16.5,607.975),(15.157,608.347),(9.514,598.942),(8.486,598.942),(2.843,608.347),(1.5,607.975),(1.5,580)],
  [(797.378,578.5),(790.5,585.378),(790.5,616),(793.5,616),(793.5,586.622),(798.622,581.5),(803.378,581.5),(808.5,586.622),(808.5,616),(811.5,616),(811.5,585.378),(804.622,578.5)],
  [(76.5,-70),(76.5,-58.353),(70.657,-46.671),(73.342,-45.328),(77.553,-53.753),(78.447,-53.753),(82.658,-45.328),(85.343,-46.671),(79.5,-58.353),(79.5,-70)],
  [(76.5,430),(76.5,441.647),(70.657,453.329),(73.342,454.672),(77.553,446.247),(78.447,446.247),(82.658,454.672),(85.343,453.329),(79.5,441.647),(79.5,430)],
  [(448.658,579.328),(440.072,596.5),(433.5,596.5),(433.5,580),(430.5,580),(430.5,614.5),(433.5,614.5),(433.5,599.5),(443.378,599.5),(448.5,604.622),(448.5,609.378),(443.378,614.5),(430.5,614.5),(430.5,617.5),(444.622,617.5),(451.5,610.622),(451.5,603.378),(443.825,595.703),(451.343,580.671)],
  [(700.658,579.328),(692.072,596.5),(685.5,596.5),(685.5,580),(682.5,580),(682.5,614.5),(685.5,614.5),(685.5,599.5),(695.378,599.5),(700.5,604.622),(700.5,609.378),(695.378,614.5),(682.5,614.5),(682.5,617.5),(696.622,617.5),(703.5,610.622),(703.5,603.378),(695.825,595.703),(703.343,580.671)],
  [(574.499,578.5),(573.9,579.7),(592.5,604.5),(592.5,609.378),(587.378,614.5),(582.622,614.5),(577.061,608.939),(574.939,611.061),(581.378,617.5),(588.622,617.5),(595.5,610.622),(595.5,603.5),(579.6,582.3),(580,581.5),(594,581.5),(594,578.5)],
  [(367.5,580),(367.5,614.5),(360,614.5),(360,617.5),(378,617.5),(378,614.5),(370.5,614.5),(370.5,580)],
  [(979.5,580),(979.5,614.5),(972,614.5),(972,617.5),(990,617.5),(990,614.5),(982.5,614.5),(982.5,580)],
  [(613.342,579.328),(610.657,580.671),(619.322,598),(610.657,615.329),(613.342,616.672),(620.553,602.248),(621.447,602.248),(628.658,616.672),(631.343,615.329),(622.677,598),(631.343,580.671),(628.658,579.328),(621.447,593.752),(620.553,593.752)],
  [(77.378,578.5),(70.939,584.939),(73.061,587.061),(78.622,581.5),(83.378,581.5),(88.5,586.622),(88.5,591.378),(83.378,596.5),(77.378,596.5),(70.5,603.378),(70.5,610.622),(77.378,617.5),(84.622,617.5),(91.061,611.061),(88.939,608.939),(83.378,614.5),(78.622,614.5),(73.5,609.378),(73.5,604.622),(78.622,599.5),(84.622,599.5),(91.5,592.622),(91.5,585.378),(84.622,578.5)],
  [(473.378,578.5),(466.939,584.939),(469.061,587.061),(474.622,581.5),(479.378,581.5),(484.5,586.622),(484.5,591.378),(479.378,596.5),(473.378,596.5),(466.5,603.378),(466.5,610.622),(473.378,617.5),(480.622,617.5),(487.061,611.061),(484.939,608.939),(479.378,614.5),(474.622,614.5),(469.5,609.378),(469.5,604.622),(474.622,599.5),(480.622,599.5),(487.5,592.622),(487.5,585.378),(480.622,578.5)],
  [(178.5,580),(178.5,604.5),(185.05,613.233),(188.8,613.233),(181.5,603.5),(181.5,596.5),(196.5,596.5),(196.5,603.5),(189.2,613.233),(185.05,613.233),(188.7,618.1),(189.3,618.1),(199.5,604.5),(199.5,580),(196.5,580),(196.5,593.5),(181.5,593.5),(181.5,580)],
  [(250.5,580),(250.5,604.5),(257.05,613.233),(260.8,613.233),(253.5,603.5),(253.5,596.5),(268.5,596.5),(268.5,603.5),(261.2,613.233),(257.05,613.233),(260.7,618.1),(261.3,618.1),(271.5,604.5),(271.5,580),(268.5,580),(268.5,593.5),(253.5,593.5),(253.5,580)],
  [(898.5,580),(898.5,604.5),(905.05,613.233),(908.8,613.233),(901.5,603.5),(901.5,596.5),(916.5,596.5),(916.5,603.5),(909.2,613.233),(905.05,613.233),(908.7,618.1),(909.3,618.1),(919.5,604.5),(919.5,580),(916.5,580),(916.5,593.5),(901.5,593.5),(901.5,580)],
  [(718.5,578.5),(718.5,617.5),(738,617.5),(738,614.5),(721.5,614.5),(721.5,599.5),(732,599.5),(732,596.5),(721.5,596.5),(721.5,581.5),(738,581.5),(738,578.5)],
  [(756,578.5),(756,580),(754.5,580),(754.5,614.5),(757.5,614.5),(757.5,581.5),(767.378,581.5),(772.5,586.622),(772.5,609.378),(767.378,614.5),(754.5,614.5),(754.5,617.5),(768.622,617.5),(775.5,610.622),(775.5,585.378),(768.622,578.5)],
  [(864,578.5),(864,580),(862.5,580),(862.5,614.5),(865.5,614.5),(865.5,581.5),(875.378,581.5),(880.5,586.622),(880.5,609.378),(875.378,614.5),(862.5,614.5),(862.5,617.5),(876.622,617.5),(883.5,610.622),(883.5,585.378),(876.622,578.5)],
  [(149.378,578.5),(142.5,585.378),(142.5,610.622),(149.378,617.5),(156.622,617.5),(163.061,611.061),(160.939,608.939),(155.378,614.5),(150.622,614.5),(145.5,609.378),(145.5,586.622),(150.622,581.5),(155.378,581.5),(160.939,587.061),(163.061,584.939),(156.622,578.5)],
  [(293.378,578.5),(286.5,585.378),(286.5,610.622),(293.378,617.5),(300.622,617.5),(307.061,611.061),(304.939,608.939),(299.378,614.5),(294.622,614.5),(289.5,609.378),(289.5,586.622),(294.622,581.5),(299.378,581.5),(304.939,587.061),(307.061,584.939),(300.622,578.5)],
  [(3.378,-71.5),(-1.5,-66.622),(-1.5,-49.378),(3.378,-44.5),(8.622,-44.5),(13.061,-48.939),(10.939,-51.061),(7.378,-47.5),(4.622,-47.5),(1.5,-50.622),(1.5,-65.378),(4.622,-68.5),(7.378,-68.5),(10.939,-64.939),(13.061,-67.061),(8.622,-71.5)],
  [(3.378,428.5),(-1.5,433.378),(-1.5,450.622),(3.378,455.5),(8.622,455.5),(13.061,451.061),(10.939,448.939),(7.378,452.5),(4.622,452.5),(1.5,449.378),(1.5,434.622),(4.622,431.5),(7.378,431.5),(10.939,435.061),(13.061,432.939),(8.622,428.5)],
  [(122,428.5),(122,431.5),(124.5,431.5),(124.5,448.964),(123.5,449.378),(123.061,448.939),(120.939,451.061),(126,456.122),(127.5,455.5),(127.5,431.5),(130,431.5),(130,428.5)],
  [(214.5,580),(214.5,614.5),(217.5,614.5),(217.5,599.5),(227.378,599.5),(232.5,604.622),(232.5,609.378),(227.378,614.5),(214.5,614.5),(214.5,617.5),(228.622,617.5),(235.5,610.622),(235.5,603.378),(228.622,596.5),(217.5,596.5),(217.5,580)],
  [(118.499,-71.5),(117.9,-70.3),(130.5,-53.5),(130.5,-50.622),(127.378,-47.5),(124.622,-47.5),(121.061,-51.061),(118.939,-48.939),(123.378,-44.5),(128.622,-44.5),(133.5,-49.378),(133.5,-54.5),(123.6,-67.7),(124,-68.5),(132,-68.5),(132,-71.5)],
  [(46.5,-70),(46.5,-47.5),(49.5,-47.5),(49.5,-56.5),(55.378,-56.5),(58.5,-53.378),(58.5,-50.622),(55.378,-47.5),(46.5,-47.5),(46.5,-44.5),(56.622,-44.5),(61.5,-49.378),(61.5,-54.622),(56.622,-59.5),(49.5,-59.5),(49.5,-70)],
  [(46.5,430),(46.5,452.5),(49.5,452.5),(49.5,443.5),(55.378,443.5),(58.5,446.622),(58.5,449.378),(55.378,452.5),(46.5,452.5),(46.5,455.5),(56.622,455.5),(61.5,450.622),(61.5,445.378),(56.622,440.5),(49.5,440.5),(49.5,430)])
mis_capacitors.add(gdstk.Reference(miscap_comb_n6_1, (4101.5,-500)))
mis_capacitors.add(gdstk.Reference(miscap_comb_n6_1, (4101.5,0)))
mis_capacitors.add(gdstk.Reference(miscap_open_100, (10155,-2077.237)))
mis_capacitors.add(gdstk.Reference(miscap_open_100, (10155,-1577.237)))
mis_capacitors.add(gdstk.Reference(miscap_bedef_200, (8275,-2076.5)))
mis_capacitors.add(gdstk.Reference(miscap_bedef_200, (8275,-1576.5)))
mis_capacitors.add(gdstk.Reference(miscap_guarded_100, (9315,-1861.5)))
mis_capacitors.add(gdstk.Reference(miscap_guarded_100, (9315,-1361.5)))
mis_capacitors.add(gdstk.Reference(miscap_short_100, (11000,-2076.5)))
mis_capacitors.add(gdstk.Reference(miscap_short_100, (11000,-1576.5)))
mis_capacitors.add(gdstk.Reference(miscap_bedef_100, (7435,-2076.5)))
mis_capacitors.add(gdstk.Reference(miscap_bedef_100, (7435,-1576.5)))
mis_capacitors.add(gdstk.Reference(miscap_comb_n10_1, (4673,-500)))
mis_capacitors.add(gdstk.Reference(miscap_comb_n10_1, (4673,0)))
mis_capacitors.add(gdstk.Reference(miscap_bedef_50, (6590,-2076.5)))
mis_capacitors.add(gdstk.Reference(miscap_bedef_50, (6590,-1576.5)))

lib.write_gds('MIS_Capacitors.gds')
